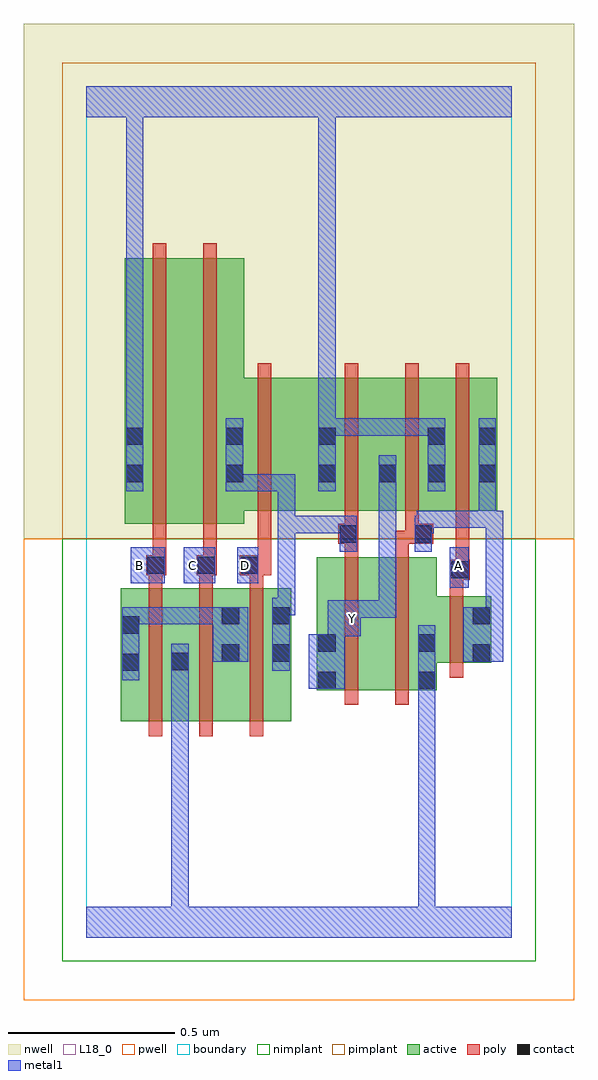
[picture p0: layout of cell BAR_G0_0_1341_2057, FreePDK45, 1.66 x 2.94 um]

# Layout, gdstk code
import gdstk
lib = gdstk.Library(unit=1e-6, precision=1e-09)
def R(c, l, rs):  # rectangles x0, y0, x1, y1
    for r in rs: c.add(gdstk.rectangle(r[:2], r[2:], *l))
def A(c, l, x, y, w, h, nx, ny, dx, dy):  # array of equal rectangles
    R(c, l, [(x+i*dx, y+j*dy, x+i*dx+w, y+j*dy+h) for i in range(nx) for j in range(ny)])
active = (1, 0)
pwell = (2, 0)
nwell = (3, 0)
nimplant = (4, 0)
pimplant = (5, 0)
poly = (9, 0)
contact = (10, 0)
metal1 = (11, 0)
L18_0 = (18, 0)
boundary = (235, 0)

bar_g0_0_1341_2057 = lib.new_cell('BAR_G0_0_1341_2057')
R(bar_g0_0_1341_2057, active, [(0.104,0.65,0.164,1.05), (0.104,0.65,0.312,1.05), (0.252,0.65,0.464,1.05), (0.404,0.65,0.464,1.05), (0.404,0.65,0.616,1.05), (0.556,0.65,0.616,1.05), (0.694,0.744,0.874,1.144), (0.694,0.744,0.754,1.144), (0.874,0.744,1.054,1.144), (0.994,0.744,1.054,0.916), (0.252,0.756,0.312,0.86), (0.994,0.826,1.218,1.026), (1.158,0.826,1.218,1.026), (0.116,1.244,0.296,2.044), (0.116,1.244,0.176,2.044), (0.296,1.244,0.476,2.044), (0.416,1.284,0.754,1.684), (0.694,1.284,0.936,1.684), (0.876,1.284,1.084,1.684), (1.024,1.284,1.236,1.684), (1.176,1.284,1.236,1.644), (0.876,1.36,0.936,1.684), (0.416,1.366,0.476,1.78), (0.694,1.366,0.754,1.644), (1.024,1.366,1.084,1.644)])
R(bar_g0_0_1341_2057, pwell, [(-0.188,-0.188,1.468,1.2)])
R(bar_g0_0_1341_2057, nwell, [(-0.188,1.2,1.468,2.748)])
R(bar_g0_0_1341_2057, nimplant, [(-0.072,-0.072,1.352,1.2)])
R(bar_g0_0_1341_2057, pimplant, [(-0.072,1.2,1.352,2.632)])
A(bar_g0_0_1341_2057, poly, 0.188, 0.606, 0.04, 0.488, 3, 1, 0.152, 0)
A(bar_g0_0_1341_2057, poly, 0.188, 1.054, 0.04, 0.076, 3, 1, 0.152, 0)
R(bar_g0_0_1341_2057, poly, [(0.778,0.7,0.818,1.188), (0.93,0.7,0.97,1.188), (1.094,0.782,1.134,1.07), (1.094,1.03,1.134,1.116), (1.094,1.076,1.154,1.136), (0.18,1.09,0.24,1.15), (0.188,1.09,0.228,1.13), (0.188,1.09,0.228,1.13), (0.332,1.09,0.392,1.15), (0.462,1.09,0.556,1.15), (0.492,1.09,0.532,1.13), (0.492,1.09,0.532,1.13), (1.112,1.096,1.152,1.28), (1.112,1.096,1.152,1.136), (1.112,1.096,1.152,1.136), (0.2,1.11,0.24,1.24), (0.352,1.11,0.392,1.15), (0.352,1.11,0.392,1.15), (0.352,1.11,0.392,1.24), (0.516,1.11,0.556,1.28), (0.778,1.148,0.818,1.224), (0.93,1.148,0.97,1.224), (0.758,1.184,0.818,1.244), (0.778,1.184,0.818,1.224), (0.778,1.184,0.818,1.224), (0.93,1.184,1,1.224), (0.96,1.184,1,1.224), (0.96,1.184,1.044,1.244), (0.2,1.2,0.24,2.088), (0.352,1.2,0.392,2.088), (0.778,1.204,0.818,1.28), (0.96,1.204,1,1.28), (0.516,1.24,0.556,1.728), (0.778,1.24,0.818,1.728), (0.96,1.24,1,1.728), (1.112,1.24,1.152,1.728)])
R(bar_g0_0_1341_2057, contact, [(0.698,0.748,0.75,0.8), (0.998,0.748,1.05,0.8), (0.108,0.802,0.16,0.854), (0.256,0.804,0.308,0.856), (0.408,0.83,0.46,0.882), (0.56,0.83,0.612,0.882), (1.162,0.83,1.214,0.882), (0.698,0.86,0.75,0.912), (0.998,0.86,1.05,0.912), (0.108,0.914,0.16,0.966), (0.408,0.942,0.46,0.994), (0.56,0.942,0.612,0.994), (1.162,0.942,1.214,0.994), (1.098,1.08,1.15,1.132), (0.184,1.094,0.236,1.146), (0.336,1.094,0.388,1.146), (0.466,1.094,0.518,1.146), (0.762,1.188,0.814,1.24), (0.988,1.188,1.04,1.24), (0.12,1.37,0.172,1.422), (0.42,1.37,0.472,1.422), (0.698,1.37,0.75,1.422), (0.88,1.37,0.932,1.422), (1.028,1.37,1.08,1.422), (1.18,1.37,1.232,1.422), (0.12,1.482,0.172,1.534), (0.42,1.482,0.472,1.534), (0.698,1.482,0.75,1.534), (1.028,1.482,1.08,1.534), (1.18,1.482,1.232,1.534)])
R(bar_g0_0_1341_2057, metal1, [(0,0,1.28,0.092), (0.256,0.04,0.308,0.092), (0.256,0.04,0.308,0.092), (0.256,0.04,0.308,0.092), (0.256,0.04,0.308,0.092), (0.256,0.04,0.308,0.092), (0.256,0.04,0.308,0.092), (0.256,0.04,0.308,0.092), (0.256,0.04,0.308,0.092), (0.256,0.04,0.308,0.092), (0.256,0.04,0.308,0.092), (0.256,0.04,0.308,0.092), (0.256,0.04,0.308,0.092), (0.256,0.04,0.308,0.828), (0.998,0.04,1.05,0.092), (0.998,0.04,1.05,0.092), (0.998,0.04,1.05,0.092), (0.998,0.04,1.05,0.092), (0.998,0.04,1.05,0.092), (0.998,0.04,1.05,0.092), (0.998,0.04,1.05,0.092), (0.998,0.04,1.05,0.092), (0.998,0.04,1.05,0.092), (0.998,0.04,1.05,0.092), (0.998,0.04,1.05,0.092), (0.998,0.04,1.05,0.092), (0.998,0.04,1.05,0.772), (0.998,0.72,1.05,0.94), (0.67,0.748,0.778,0.912), (0.108,0.774,0.16,0.994), (0.256,0.776,0.308,0.884), (0.56,0.802,0.612,1.022), (0.38,0.83,0.488,0.994), (1.134,0.83,1.254,0.994), (0.726,0.86,0.778,0.958), (0.726,0.906,0.826,1.014), (0.108,0.942,0.16,0.994), (0.108,0.942,0.16,0.994), (0.108,0.942,0.27,0.994), (0.218,0.942,0.27,0.994), (0.218,0.942,0.27,0.994), (0.218,0.942,0.27,0.994), (0.218,0.942,0.432,0.994), (1.202,0.942,1.254,1.284), (1.202,0.942,1.254,0.994), (1.202,0.942,1.254,0.994), (0.774,0.962,0.826,1.014), (0.774,0.962,0.826,1.014), (0.774,0.962,0.932,1.014), (0.88,0.962,0.932,1.014), (0.88,0.962,0.932,1.014), (0.88,0.962,0.932,1.014), (0.88,0.962,0.932,1.394), (0.56,0.97,0.612,1.022), (0.56,0.97,0.628,1.022), (0.576,0.97,0.628,1.268), (1.094,1.052,1.15,1.174), (0.134,1.066,0.236,1.174), (0.294,1.066,0.388,1.174), (0.454,1.066,0.518,1.174), (0.762,1.16,0.814,1.268), (0.988,1.16,1.04,1.268), (0.576,1.216,0.628,1.268), (0.576,1.216,0.814,1.268), (0.576,1.216,0.628,1.394), (0.762,1.216,0.814,1.268), (0.762,1.216,0.814,1.268), (0.988,1.216,1.046,1.268), (0.994,1.216,1.046,1.284), (0.994,1.232,1.232,1.284), (1.18,1.232,1.232,1.394), (1.18,1.232,1.232,1.284), (1.18,1.232,1.232,1.284), (1.18,1.232,1.254,1.284), (0.12,1.342,0.172,1.562), (0.42,1.342,0.472,1.562), (0.42,1.342,0.472,1.394), (0.42,1.342,0.472,1.394), (0.42,1.342,0.628,1.394), (0.576,1.342,0.628,1.394), (0.698,1.342,0.75,1.562), (0.88,1.342,0.932,1.45), (1.028,1.342,1.08,1.562), (1.18,1.342,1.232,1.562), (0.12,1.51,0.172,2.52), (0.698,1.51,0.75,1.562), (0.698,1.51,0.75,1.562), (0.698,1.51,0.75,1.562), (0.698,1.51,0.75,1.562), (0.698,1.51,0.75,1.562), (0.698,1.51,0.75,1.562), (0.698,1.51,0.75,1.562), (0.698,1.51,0.75,1.562), (0.698,1.51,0.75,1.562), (0.698,1.51,0.75,1.562), (0.698,1.51,0.75,1.562), (0.698,1.51,0.75,1.562), (0.698,1.51,0.75,1.562), (0.698,1.51,0.75,1.562), (0.698,1.51,0.936,1.562), (0.698,1.51,0.75,2.52), (0.884,1.51,0.936,1.562), (0.884,1.51,0.936,1.562), (0.884,1.51,0.936,1.562), (0.884,1.51,1.08,1.562), (0,2.468,1.28,2.56), (0.12,2.468,0.172,2.52), (0.12,2.468,0.172,2.52), (0.12,2.468,0.172,2.52), (0.12,2.468,0.172,2.52), (0.12,2.468,0.172,2.52), (0.12,2.468,0.172,2.52), (0.12,2.468,0.172,2.52), (0.12,2.468,0.172,2.52), (0.698,2.468,0.75,2.52), (0.698,2.468,0.75,2.52), (0.698,2.468,0.75,2.52), (0.698,2.468,0.75,2.52)])
A(bar_g0_0_1341_2057, L18_0, 0.134, 1.094, 0.052, 0.052, 3, 1, 0.16, 0)
R(bar_g0_0_1341_2057, L18_0, [(0,0,1.28,0.092), (0.256,0.04,0.308,0.092), (0.256,0.04,0.308,0.092), (0.256,0.04,0.308,0.092), (0.256,0.04,0.308,0.092), (0.256,0.04,0.308,0.092), (0.256,0.04,0.308,0.092), (0.256,0.04,0.308,0.092), (0.256,0.04,0.308,0.092), (0.256,0.04,0.308,0.092), (0.256,0.04,0.308,0.092), (0.256,0.04,0.308,0.092), (0.256,0.04,0.308,0.092), (0.256,0.04,0.308,0.828), (0.998,0.04,1.05,0.092), (0.998,0.04,1.05,0.092), (0.998,0.04,1.05,0.092), (0.998,0.04,1.05,0.092), (0.998,0.04,1.05,0.092), (0.998,0.04,1.05,0.092), (0.998,0.04,1.05,0.092), (0.998,0.04,1.05,0.092), (0.998,0.04,1.05,0.092), (0.998,0.04,1.05,0.092), (0.998,0.04,1.05,0.092), (0.998,0.04,1.05,0.092), (0.998,0.04,1.05,0.772), (0.998,0.72,1.05,0.94), (0.67,0.748,0.778,0.912), (0.256,0.776,0.308,0.884), (0.726,0.86,0.778,0.958), (0.726,0.906,0.826,1.014), (0.774,0.934,0.826,0.986), (0.774,0.962,0.826,1.014), (0.774,0.962,0.826,1.014), (0.774,0.962,0.932,1.014), (0.88,0.962,0.932,1.014), (0.88,0.962,0.932,1.014), (0.88,0.962,0.932,1.014), (0.88,0.962,0.932,1.394), (1.094,1.052,1.15,1.174), (0.134,1.066,0.236,1.174), (0.294,1.066,0.388,1.174), (0.454,1.066,0.518,1.174), (1.094,1.094,1.146,1.146), (0.12,1.342,0.172,1.562), (0.698,1.342,0.75,1.562), (0.88,1.342,0.932,1.45), (1.028,1.342,1.08,1.562), (0.12,1.51,0.172,2.52), (0.698,1.51,0.75,1.562), (0.698,1.51,0.75,1.562), (0.698,1.51,0.75,1.562), (0.698,1.51,0.75,1.562), (0.698,1.51,0.75,1.562), (0.698,1.51,0.75,1.562), (0.698,1.51,0.75,1.562), (0.698,1.51,0.75,1.562), (0.698,1.51,0.75,1.562), (0.698,1.51,0.75,1.562), (0.698,1.51,0.75,1.562), (0.698,1.51,0.75,1.562), (0.698,1.51,0.75,1.562), (0.698,1.51,0.75,1.562), (0.698,1.51,0.75,2.52), (0.698,1.51,0.936,1.562), (0.884,1.51,0.936,1.562), (0.884,1.51,0.936,1.562), (0.884,1.51,0.936,1.562), (0.884,1.51,1.08,1.562), (0,2.468,1.28,2.56), (0.12,2.468,0.172,2.52), (0.12,2.468,0.172,2.52), (0.12,2.468,0.172,2.52), (0.12,2.468,0.172,2.52), (0.12,2.468,0.172,2.52), (0.12,2.468,0.172,2.52), (0.12,2.468,0.172,2.52), (0.12,2.468,0.172,2.52), (0.698,2.468,0.75,2.52), (0.698,2.468,0.75,2.52), (0.698,2.468,0.75,2.52), (0.698,2.468,0.75,2.52)])
R(bar_g0_0_1341_2057, boundary, [(0,0,1.28,2.56)])
bar_g0_0_1341_2057.add(gdstk.Label('A', (1.12,1.12), layer=11, texttype=0))
bar_g0_0_1341_2057.add(gdstk.Label('B', (0.16,1.12), layer=11, texttype=0))
bar_g0_0_1341_2057.add(gdstk.Label('C', (0.32,1.12), layer=11, texttype=0))
bar_g0_0_1341_2057.add(gdstk.Label('D', (0.48,1.12), layer=11, texttype=0))
bar_g0_0_1341_2057.add(gdstk.Label('Y', (0.8,0.96), layer=11, texttype=0))

lib.write_gds('BAR_G0_0_1341_2057.gds')
